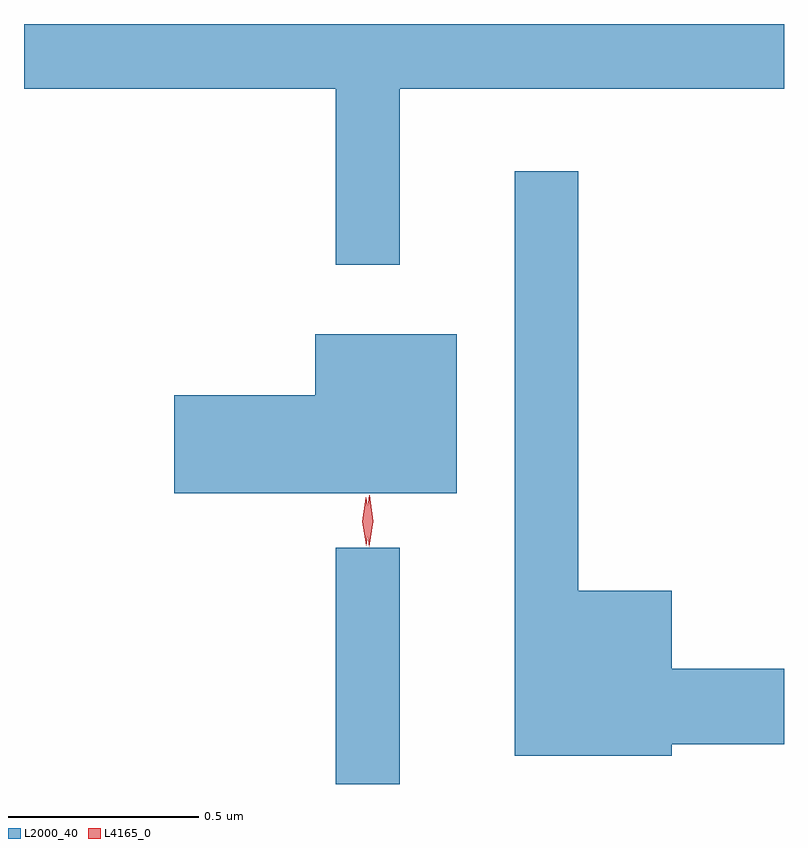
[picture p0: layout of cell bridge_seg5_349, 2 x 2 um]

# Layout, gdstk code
import gdstk
lib = gdstk.Library(unit=1e-6, precision=1e-09)
def R(c, l, rs):  # rectangles x0, y0, x1, y1
    for r in rs: c.add(gdstk.rectangle(r[:2], r[2:], *l))
def P(c, l, *ps):  # polygons
    for p in ps: c.add(gdstk.Polygon(p, *l))
L2000_40 = (2000, 40)
L4165_0 = (4165, 0)

bridge_seg5_349 = lib.new_cell('bridge_seg5_349')
R(bridge_seg5_349, L2000_40, [(680.811,1421.666,680.979,1422.288)])
P(bridge_seg5_349, L2000_40, [(680.979,1423.496),(681.99,1423.496),(681.99,1423.666),(679.99,1423.666),(679.99,1423.496),(680.811,1423.496),(680.811,1423.033),(680.979,1423.033)],
  [(681.694,1421.771),(681.99,1421.771),(681.99,1421.969),(681.694,1421.969),(681.694,1422.174),(681.449,1422.174),(681.449,1423.278),(681.281,1423.278),(681.281,1421.741),(681.694,1421.741)],
  [(681.129,1422.849),(680.756,1422.849),(680.756,1422.689),(680.386,1422.689),(680.386,1422.431),(681.129,1422.431)])
P(bridge_seg5_349, L4165_0, [(680.898,1422.29),(680.898,1422.29),(680.889,1422.358),(680.899,1422.426),(680.9,1422.426),(680.9,1422.426),(680.909,1422.358),(680.899,1422.29)],
  [(680.89,1422.293),(680.88,1422.356),(680.889,1422.419),(680.889,1422.42),(680.89,1422.419),(680.9,1422.356),(680.891,1422.293),(680.891,1422.293)])

lib.write_gds('bridge_seg5_349.gds')
